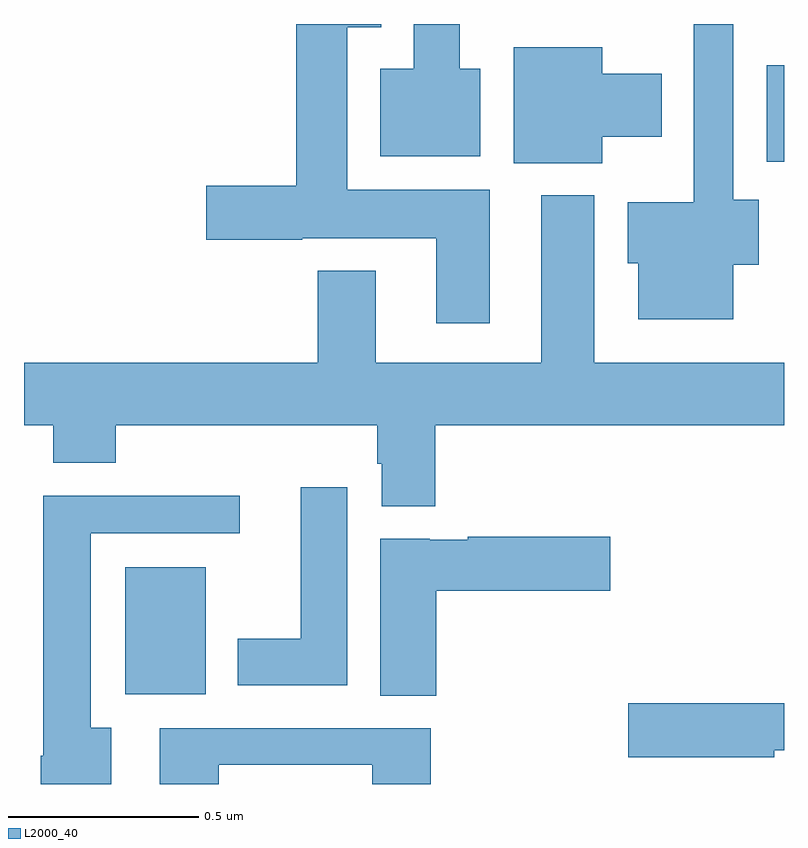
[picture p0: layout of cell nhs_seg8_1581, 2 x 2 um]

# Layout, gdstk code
import gdstk
lib = gdstk.Library(unit=1e-6, precision=1e-09)
def R(c, l, rs):  # rectangles x0, y0, x1, y1
    for r in rs: c.add(gdstk.rectangle(r[:2], r[2:], *l))
def P(c, l, *ps):  # polygons
    for p in ps: c.add(gdstk.Polygon(p, *l))
L2000_40 = (2000, 40)

nhs_seg8_1581 = lib.new_cell('nhs_seg8_1581')
R(nhs_seg8_1581, L2000_40, [(132.266,1105.136,132.478,1105.471), (133.955,1106.537,134,1106.791)])
P(nhs_seg8_1581, L2000_40, [(133.201,1106.782),(133.147,1106.782),(133.147,1106.9),(133.025,1106.9),(133.025,1106.782),(132.938,1106.782),(132.938,1106.552),(133.201,1106.552)],
  [(133.867,1106.267),(133.933,1106.267),(133.933,1106.438),(133.867,1106.438),(133.867,1106.9),(133.763,1106.9),(133.763,1106.431),(133.589,1106.431),(133.589,1106.271),(133.616,1106.271),(133.616,1106.123),(133.867,1106.123)],
  [(133.225,1106.464),(132.85,1106.464),(132.85,1106.891),(132.94,1106.891),(132.94,1106.9),(132.716,1106.9),(132.716,1106.474),(132.48,1106.474),(132.48,1106.332),(132.732,1106.332),(132.732,1106.336),(133.085,1106.336),(133.085,1106.112),(133.225,1106.112)],
  [(133.522,1106.603),(133.678,1106.603),(133.678,1106.769),(133.522,1106.769),(133.522,1106.839),(133.289,1106.839),(133.289,1106.534),(133.522,1106.534)],
  [(133.082,1105.844),(134,1105.844),(134,1106.008),(133.501,1106.008),(133.501,1106.449),(133.361,1106.449),(133.361,1106.008),(132.925,1106.008),(132.925,1106.251),(132.773,1106.251),(132.773,1106.008),(132,1106.008),(132,1105.844),(132.077,1105.844),(132.077,1105.745),(132.242,1105.745),(132.242,1105.844),(132.929,1105.844),(132.929,1105.743),(132.941,1105.743),(132.941,1105.631),(133.082,1105.631)],
  [(132.85,1105.681),(132.728,1105.681),(132.728,1105.282),(132.563,1105.282),(132.563,1105.16),(132.85,1105.16)],
  [(132.229,1105.048),(132.175,1105.048),(132.175,1105.56),(132.568,1105.56),(132.568,1105.658),(132.05,1105.658),(132.05,1104.975),(132.044,1104.975),(132.044,1104.9),(132.229,1104.9)],
  [(133.085,1105.409),(133.543,1105.409),(133.543,1105.551),(133.168,1105.551),(133.168,1105.543),(133.068,1105.543),(133.068,1105.546),(132.938,1105.546),(132.938,1105.132),(133.085,1105.132)],
  [(133.974,1104.989),(134,1104.989),(134,1105.112),(133.59,1105.112),(133.59,1104.97),(133.974,1104.97)],
  [(132.513,1104.951),(132.917,1104.951),(132.917,1104.9),(133.07,1104.9),(133.07,1105.047),(132.357,1105.047),(132.357,1104.9),(132.513,1104.9)])

lib.write_gds('nhs_seg8_1581.gds')
